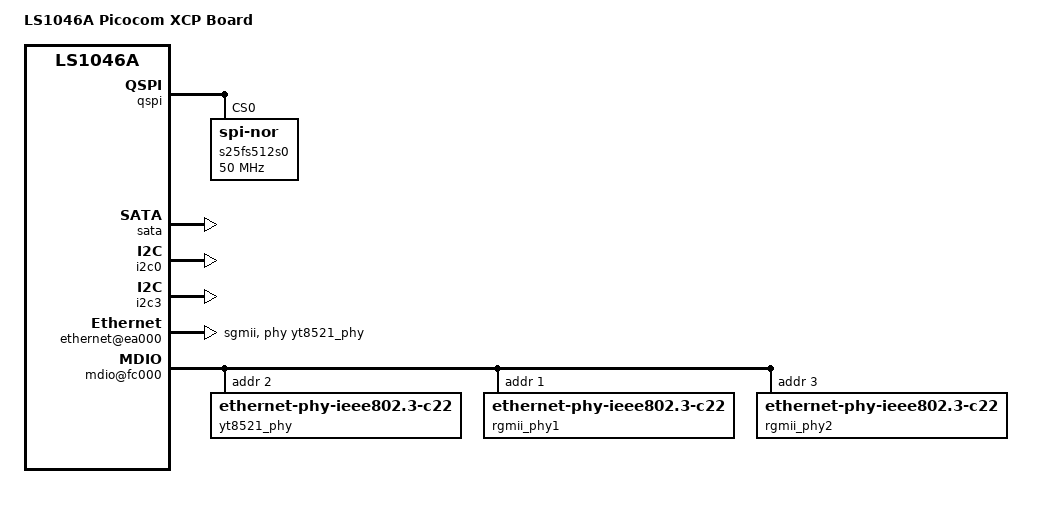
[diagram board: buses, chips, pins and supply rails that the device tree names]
// SPDX-License-Identifier: GPL-2.0+ OR X11
/*
 * Device Tree Include file for Freescale Layerscape-1046A family SoC.
 *
 * Copyright 2016, Freescale Semiconductor
 * Copyright 2020 NXP
 *
 * Mingkai Hu <Mingkai.hu@freescale.com>
 */

/dts-v1/;
#include "fsl-ls1046a.dtsi"

/ {
	model = "LS1046A Picocom XCP Board";

	aliases {
		spi0 = &qspi;
	};

};

&ifc {
	status = "disabled";
};

&qspi {
	status = "okay";

	s25fs512s0: flash@0 {
		#address-cells = <1>;
		#size-cells = <1>;
		compatible = "jedec,spi-nor";
		spi-max-frequency = <50000000>;
		reg = <0>;
	};
};

&sata {
	status = "okay";
};

&i2c0 {
	status = "okay";
};

&i2c3 {
	status = "okay";
};

#include "fsl-ls1046-post.dtsi"

&fman0 {
	ethernet@e4000 {
		phy-handle = <&rgmii_phy1>;
		phy-connection-type = "rgmii-id";
	};

	ethernet@e6000 {
		phy-handle = <&rgmii_phy2>;
		phy-connection-type = "rgmii-id";
	};

	ethernet@e8000 {
		status = "disabled";
	};

	ethernet@ea000 {
		phy-handle = <&yt8521_phy>;
		phy-connection-type = "sgmii";
		status = "okay";
	};

	ethernet@f0000 { /* 10GEC1 */
		status = "disabled";
	};

	ethernet@f2000 { /* 10GEC2 */
		status = "disabled";
	};

	mdio@fc000 {
		yt8521_phy: ethernet-phy@2 {
			compatible = "ethernet-phy-ieee802.3-c22";
			interrupts = <0 131 4>;
			reg = <0x2>;
		};

		rgmii_phy1: ethernet-phy@1 {
			compatible = "ethernet-phy-ieee802.3-c22";
			reg = <0x1>;
			tx-internal-delay-ps = <2000>;
		};

		rgmii_phy2: ethernet-phy@3 {
			compatible = "ethernet-phy-ieee802.3-c22";
			reg = <0x3>;
			tx-internal-delay-ps = <2000>;
		};
	};

	mdio@fd000 {
		status = "disabled";
	};
};
